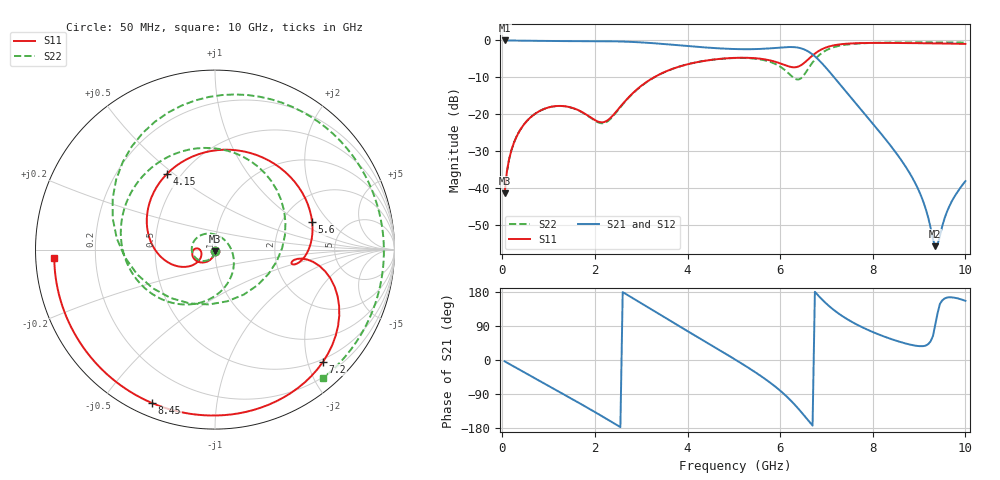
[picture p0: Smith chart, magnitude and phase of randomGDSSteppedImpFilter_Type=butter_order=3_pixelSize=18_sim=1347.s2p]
! freq	dB(S11)	phase(S11)	dB(S12)	phase(S12)
!  dB(S21)	phase(S21)	dB(S22)	phase(S22)
!S-par simulation data
#  GHz  S  DB  R 50
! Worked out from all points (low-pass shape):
!   200 points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, 50 MHz to 10 GHz, reference 50 ohm
!   highest |S21| = -0.01 dB at 50 MHz (marker M1); lowest = -55.7 dB at 9.35 GHz (marker M2)
!   |S21| within 3 dB of the highest: start of sweep to 6.609 GHz
!   lowest |S11| = -41.4 dB at 50 MHz (marker M3), VSWR 1.02, Z = 50 - j0.851 ohm
!   |S11| at or under -10 dB: start of sweep to 3.275 GHz
!   |S22| runs from -41.3 to -0.5 dB; largest |S21 - S12| = 0
!   S11 on the Smith chart (normalised r, x): 50 MHz: 1.00, -0.02; 4.15 GHz: 0.42, +0.47; 5.6 GHz: 2.92, +1.32; 7.2 GHz: 0.45, -2.27; 8.45 GHz: 0.06, -0.67; 10 GHz: 0.05, -0.03
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0.05  -41.40 -88.1  -0.01 -3.5  -0.01 -3.5  -41.34 -88.5
0.2  -29.58 -102.1  -0.03 -13.8  -0.03 -13.8  -29.58 -104.2
0.55  -21.55 -125.1  -0.08 -37.7  -0.08 -37.7  -21.55 -131.2
1.15  -17.78 -160.4  -0.17 -78.5  -0.17 -78.5  -17.79 -177.9
1.75  -19.58 176.3  -0.19 -119.7  -0.19 -119.7  -19.64 123.3
2.2  -22.08 -163.2  -0.21 -151.7  -0.21 -151.7  -22.36 38.6
2.6  -17.17 -144.4  -0.31 179.2  -0.31 179.2  -17.32 -39.7
3.4  -9.16 176.4  -0.89 120.0  -0.89 120.0  -9.18 -118.2
4.15  -6.03 122.4  -1.68 65.3  -1.68 65.3  -6.03 -172.9
5.05  -4.71 54.9  -2.35 -0.3  -2.35 -0.3  -4.76 124.1
5.6  -4.99 15.9  -2.29 -43.6  -2.29 -43.6  -5.22 78.1
6.15  -6.89 -10.5  -1.80 -97.4  -1.80 -97.4  -8.54 1.2
6.45  -6.72 -6.4  -2.14 -136.6  -2.14 -136.6  -10.25 -96.1
6.7  -4.07 -11.2  -3.80 -173.0  -3.80 -173.0  -5.97 -175.0
6.9  -2.39 -24.4  -6.15 160.2  -6.15 160.2  -3.41 144.7
7.2  -1.23 -46.1  -10.51 128.1  -10.51 128.1  -1.68 103.1
7.75  -0.72 -79.1  -18.80 87.7  -18.80 87.7  -0.80 54.4
8.35  -0.68 -107.8  -27.92 57.3  -27.92 57.3  -0.57 18.0
8.45  -0.69 -112.2  -29.55 53.1  -29.55 53.1  -0.56 12.9
9  -0.75 -135.3  -40.80 36.7  -40.80 36.7  -0.52 -12.5
9.35  -0.81 -149.5  -55.68 94.3  -55.68 94.3  -0.52 -26.7
10  -0.95 -177.0  -38.07 156.1  -38.07 156.1  -0.58 -49.9
